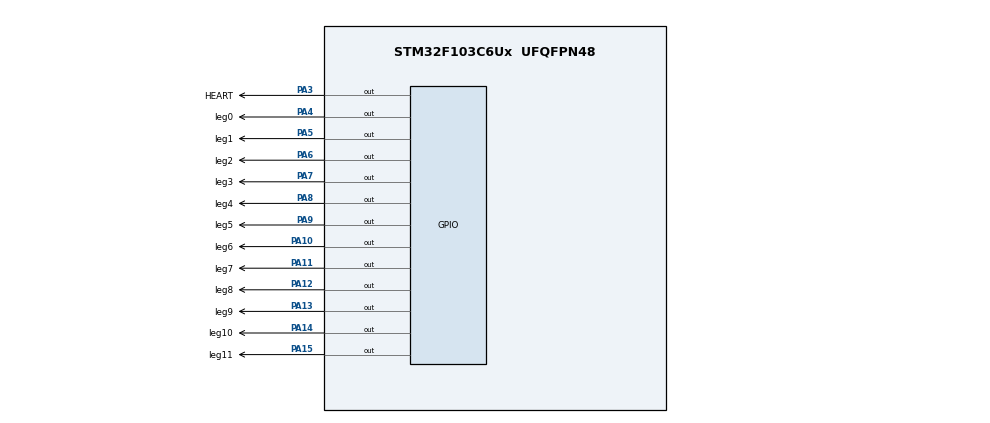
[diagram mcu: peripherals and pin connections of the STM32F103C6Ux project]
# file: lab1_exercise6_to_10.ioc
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Mcu.Family=STM32F1
Mcu.Name=STM32F103C6Ux
Mcu.Package=UFQFPN48
NVIC.PriorityGroup=NVIC_PRIORITYGROUP_4
PA10.GPIO_Label=leg6
PA10.Signal=GPIO_Output
PA11.GPIO_Label=leg7
PA11.Signal=GPIO_Output
PA12.GPIO_Label=leg8
PA12.Signal=GPIO_Output
PA13.GPIO_Label=leg9
PA13.Signal=GPIO_Output
PA14.GPIO_Label=leg10
PA14.Signal=GPIO_Output
PA15.GPIO_Label=leg11
PA15.Signal=GPIO_Output
PA3.GPIO_Label=HEART
PA3.Signal=GPIO_Output
PA4.GPIO_Label=leg0
PA4.Signal=GPIO_Output
PA5.GPIO_Label=leg1
PA5.Signal=GPIO_Output
PA6.GPIO_Label=leg2
PA6.Signal=GPIO_Output
PA7.GPIO_Label=leg3
PA7.Signal=GPIO_Output
PA8.GPIO_Label=leg4
PA8.Signal=GPIO_Output
PA9.GPIO_Label=leg5
PA9.Signal=GPIO_Output
ProjectManager.HeapSize=0x200
ProjectManager.StackSize=0x400
ProjectManager.TargetToolchain=STM32CubeIDE
RCC.APB1Freq_Value=8000000
RCC.APB2Freq_Value=8000000
VP_SYS_VS_ND.Mode=No_Debug
board=custom

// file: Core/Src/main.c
/* USER CODE BEGIN Header */
/**
  ******************************************************************************
  * @file           : main.c
  * @brief          : Main program body
  ******************************************************************************
  * @attention
  *
  * <h2><center>&copy; Copyright (c) 2025 STMicroelectronics.
  * All rights reserved.</center></h2>
  *
  * This software component is licensed by ST under BSD 3-Clause license,
  * the "License"; You may not use this file except in compliance with the
  * License. You may obtain a copy of the License at:
  *                        opensource.org/licenses/BSD-3-Clause
  *
  ******************************************************************************
  */
/* USER CODE END Header */
#include "main.h"

/* USER CODE BEGIN PD */
#define CLOCK_PORT GPIOA
/* USER CODE END PD */

/* USER CODE BEGIN PV */
int hour = 0;
int minute = 0;
int second = 0;

uint16_t leg_arr[12] =
{
	leg0_Pin, leg1_Pin, leg2_Pin, leg3_Pin,
	leg4_Pin, leg5_Pin, leg6_Pin, leg7_Pin,
	leg8_Pin, leg9_Pin, leg10_Pin, leg11_Pin
};
/* USER CODE END PV */

void SystemClock_Config(void);
static void MX_GPIO_Init(void);
/* USER CODE BEGIN PFP */
void clearNumberOnClock(int num)
{
	HAL_GPIO_WritePin(CLOCK_PORT, leg_arr[num], SET);
}

void clearAllClock()
{
	for(int i = 0; i < 12; i++)
	{
		clearNumberOnClock(i);
	}
}

void setNumberOnClock(int num)
{
	HAL_GPIO_WritePin(CLOCK_PORT, leg_arr[num], RESET);
}

void ShowClock(int hour, int minute, int second)
{
	//SECOND CONTROL
	if(second % 5 == 0)//only adjust when 5 second passed by
	{
		//if there isn't any hand that is taking effect on the previous led,
		//we turn the previous led off
		if ((second/5) > 0 &&
			(minute/5) != (second/5 - 1) &&
			hour != (second/5 - 1))
			clearNumberOnClock(second/5 -1);

		//we have to create a separate case for second/5 == 0
		//because we can't access the previous led by doing second/5 -1
		if((second/5) == 0 &&
			(minute/5) != 11 &&
			hour != 11)
			clearNumberOnClock(11);

		setNumberOnClock(second/5);
	}

	//MINUTE CONTROL
	if(second == 0)//only adjust minute when second finishes its circle(back to 0)
	{
		//same thing with the minute hand
		if((minute/5) > 0 &&
			(second/5) != (minute/5 - 1) &&
			hour != (minute/5 -1))
			clearNumberOnClock(minute/5-1);

		if((minute/5) == 0 &&
			hour != 11)
			clearNumberOnClock(11);

		setNumberOnClock(minute/5);
	}
	//HOUR CONTROL
	if(minute == 0)//only adjust hour hand when minute hand finishes its circle(back to 0)
	{
		if(hour > 1 && second/5 != (hour - 1))
			clearNumberOnClock(hour - 1);

		if(hour == 0 && second/5 != 11)
			clearNumberOnClock(11);

		setNumberOnClock(hour);
	}
}

void UpdateTime(int *hour, int *minute, int *second)
{
	if(*second >= 60)
	{
		*second = 0;
		(*minute)++;
	}
	if(*minute >= 60)
	{
		*minute = 0;
		(*hour)++;
	}
	if(*hour >= 12)
	{
		*hour = 0;
	}
}
/* USER CODE END PFP */

int main(void)
{

  /* MCU Configuration--------------------------------------------------------*/

  /* Reset of all peripherals, Initializes the Flash interface and the Systick. */
  HAL_Init();

  /* Configure the system clock */
  SystemClock_Config();

  /* Initialize all configured peripherals */
  MX_GPIO_Init();
  /* USER CODE BEGIN 2 */
  clearAllClock();
  /* USER CODE END 2 */

  /* Infinite loop */
  while (1)
  {
	  ShowClock(hour, minute, second);
	  //update the time state
	  second++;
	  UpdateTime(&hour, &minute, &second);

	  HAL_GPIO_TogglePin(HEART_GPIO_Port, HEART_Pin); //STM32's heart beats every 100ms
	  HAL_Delay(100);// small delay value for FASTER observation
  }
}

void SystemClock_Config(void)
{
  RCC_OscInitTypeDef RCC_OscInitStruct = {0};
  RCC_ClkInitTypeDef RCC_ClkInitStruct = {0};

  /** Initializes the RCC Oscillators according to the specified parameters
  * in the RCC_OscInitTypeDef structure.
  */
  RCC_OscInitStruct.OscillatorType = RCC_OSCILLATORTYPE_HSI;
  RCC_OscInitStruct.HSIState = RCC_HSI_ON;
  RCC_OscInitStruct.HSICalibrationValue = RCC_HSICALIBRATION_DEFAULT;
  RCC_OscInitStruct.PLL.PLLState = RCC_PLL_NONE;
  if (HAL_RCC_OscConfig(&RCC_OscInitStruct) != HAL_OK)
  {
    Error_Handler();
  }
  /** Initializes the CPU, AHB and APB buses clocks
  */
  RCC_ClkInitStruct.ClockType = RCC_CLOCKTYPE_HCLK|RCC_CLOCKTYPE_SYSCLK
                              |RCC_CLOCKTYPE_PCLK1|RCC_CLOCKTYPE_PCLK2;
  RCC_ClkInitStruct.SYSCLKSource = RCC_SYSCLKSOURCE_HSI;
  RCC_ClkInitStruct.AHBCLKDivider = RCC_SYSCLK_DIV1;
  RCC_ClkInitStruct.APB1CLKDivider = RCC_HCLK_DIV1;
  RCC_ClkInitStruct.APB2CLKDivider = RCC_HCLK_DIV1;

  if (HAL_RCC_ClockConfig(&RCC_ClkInitStruct, FLASH_LATENCY_0) != HAL_OK)
  {
    Error_Handler();
  }
}

static void MX_GPIO_Init(void)
{
  GPIO_InitTypeDef GPIO_InitStruct = {0};

  /* GPIO Ports Clock Enable */
  __HAL_RCC_GPIOA_CLK_ENABLE();

  /*Configure GPIO pin Output Level */
  HAL_GPIO_WritePin(GPIOA, HEART_Pin|leg0_Pin|leg1_Pin|leg2_Pin
                          |leg3_Pin|leg4_Pin|leg5_Pin|leg6_Pin
                          |leg7_Pin|leg8_Pin|leg9_Pin|leg10_Pin
                          |leg11_Pin, GPIO_PIN_RESET);

  /*Configure GPIO pins : HEART_Pin leg0_Pin leg1_Pin leg2_Pin
                           leg3_Pin leg4_Pin leg5_Pin leg6_Pin
                           leg7_Pin leg8_Pin leg9_Pin leg10_Pin
                           leg11_Pin */
  GPIO_InitStruct.Pin = HEART_Pin|leg0_Pin|leg1_Pin|leg2_Pin
                          |leg3_Pin|leg4_Pin|leg5_Pin|leg6_Pin
                          |leg7_Pin|leg8_Pin|leg9_Pin|leg10_Pin
                          |leg11_Pin;
  GPIO_InitStruct.Mode = GPIO_MODE_OUTPUT_PP;
  GPIO_InitStruct.Pull = GPIO_NOPULL;
  GPIO_InitStruct.Speed = GPIO_SPEED_FREQ_LOW;
  HAL_GPIO_Init(GPIOA, &GPIO_InitStruct);

}

void Error_Handler(void)
{
  __disable_irq();
  while (1)
  {
  }
}

/************************ (C) COPYRIGHT STMicroelectronics *****END OF FILE****/
